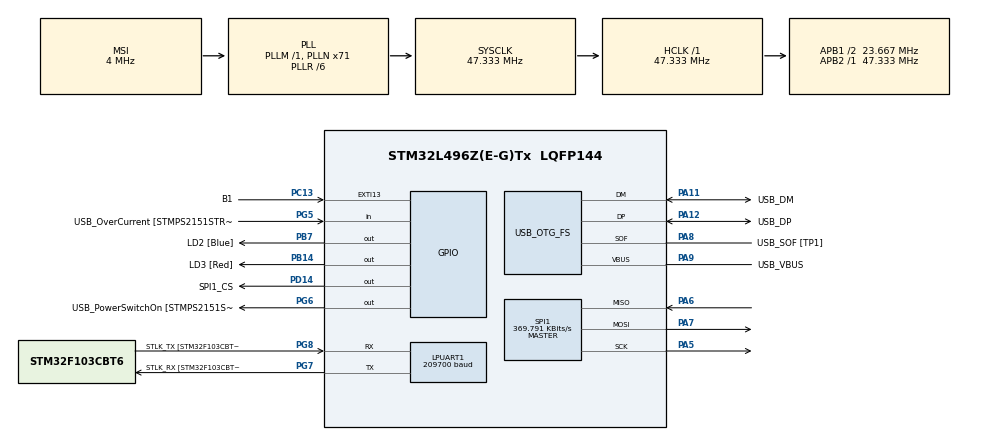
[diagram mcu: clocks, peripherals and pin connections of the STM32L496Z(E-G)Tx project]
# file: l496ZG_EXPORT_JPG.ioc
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CRC.InputDataInversionMode=CRC_INPUTDATA_INVERSION_BYTE
CRC.OutputDataInversionMode=CRC_OUTPUTDATA_INVERSION_ENABLE
LPUART1.BaudRate=209700
LPUART1.WordLength=UART_WORDLENGTH_8B
Mcu.Family=STM32L4
Mcu.Name=STM32L496Z(E-G)Tx
Mcu.Package=LQFP144
NVIC.OTG_FS_IRQn=true\:0\:0\:false\:false\:true\:false\:true\:true
NVIC.PriorityGroup=NVIC_PRIORITYGROUP_4
PA10.GPIO_Label=USB_ID
PA10.Signal=USB_OTG_FS_ID
PA11.GPIO_Label=USB_DM
PA11.Mode=Device_Only
PA11.Signal=USB_OTG_FS_DM
PA12.GPIO_Label=USB_DP
PA12.Mode=Device_Only
PA12.Signal=USB_OTG_FS_DP
PA13\ (JTMS/SWDIO).GPIO_Label=TMS
PA13\ (JTMS/SWDIO).Mode=Trace_Asynchronous_SW
PA13\ (JTMS/SWDIO).Signal=SYS_JTMS-SWDIO
PA14\ (JTCK/SWCLK).GPIO_Label=TCK
PA14\ (JTCK/SWCLK).Mode=Trace_Asynchronous_SW
PA14\ (JTCK/SWCLK).Signal=SYS_JTCK-SWCLK
PA5.Mode=Full_Duplex_Master
PA5.Signal=SPI1_SCK
PA6.Mode=Full_Duplex_Master
PA6.Signal=SPI1_MISO
PA7.Mode=Full_Duplex_Master
PA7.Signal=SPI1_MOSI
PA8.GPIO_Label=USB_SOF [TP1]
PA8.Mode=Activate_SOF_FS
PA8.Signal=USB_OTG_FS_SOF
PA9.GPIO_Label=USB_VBUS
PA9.Mode=Activate_VBUS
PA9.Signal=USB_OTG_FS_VBUS
PB14.GPIO_Label=LD3 [Red]
PB14.Signal=GPIO_Output
PB3\ (JTDO/TRACESWO).GPIO_Label=SWO
PB3\ (JTDO/TRACESWO).Mode=Trace_Asynchronous_SW
PB3\ (JTDO/TRACESWO).Signal=SYS_JTDO-SWO
PB7.GPIO_Label=LD2 [Blue]
PB7.Signal=GPIO_Output
PC13.GPIO_Label=B1
PC13.Signal=GPXTI13
PC14-OSC32_IN\ (PC14).Mode=LSE-External-Oscillator
PC14-OSC32_IN\ (PC14).Signal=RCC_OSC32_IN
PC15-OSC32_OUT\ (PC15).Mode=LSE-External-Oscillator
PC15-OSC32_OUT\ (PC15).Signal=RCC_OSC32_OUT
PD14.GPIO_Label=SPI1_CS
PD14.GPIO_ModeDefaultOutputPP=GPIO_MODE_OUTPUT_PP
PD14.GPIO_PuPd=GPIO_PULLUP
PD14.PinState=GPIO_PIN_SET
PD14.Signal=GPIO_Output
PG5.GPIO_Label=USB_OverCurrent [STMPS2151STR_FAULT]
PG5.Signal=GPIO_Input
PG6.GPIO_Label=USB_PowerSwitchOn [STMPS2151STR_EN]
PG6.Signal=GPIO_Output
PG7.GPIO_Label=STLK_RX [STM32F103CBT6_PA3]
PG7.Mode=Asynchronous
PG7.Signal=LPUART1_TX
PG8.GPIO_Label=STLK_TX [STM32F103CBT6_PA2]
PG8.Mode=Asynchronous
PG8.Signal=LPUART1_RX
PH1-OSC_OUT\ (PH1).Signal=RCC_OSC_OUT
ProjectManager.HeapSize=0x200
ProjectManager.StackSize=0x400
ProjectManager.TargetToolchain=STM32CubeIDE
RCC.48MHZClocksFreq_Value=24000000
RCC.ADCFreq_Value=48000000
RCC.AHBFreq_Value=47333333.333333336
RCC.APB1CLKDivider=RCC_HCLK_DIV2
RCC.APB1Freq_Value=23666666.666666668
RCC.APB1TimFreq_Value=47333333.333333336
RCC.APB2Freq_Value=47333333.333333336
RCC.APB2TimFreq_Value=47333333.333333336
RCC.CortexFreq_Value=47333333.333333336
RCC.HCLKFreq_Value=47333333.333333336
RCC.HSE_VALUE=8000000
RCC.HSI48_VALUE=48000000
RCC.HSI_VALUE=16000000
RCC.MSI_VALUE=4000000
RCC.PLLMUL=RCC_PLL_MUL9
RCC.PLLN=71
RCC.PLLR=RCC_PLLR_DIV6
RCC.PLLSAI1N=24
RCC.PRESCALERUSB=RCC_USBCLKSOURCE_PLL_DIV1_5
RCC.SYSCLKFreq_VALUE=47333333.333333336
RCC.SYSCLKSource=RCC_SYSCLKSOURCE_PLLCLK
RCC.SYSCLKSourceVirtual=RCC_SYSCLKSOURCE_PLLCLK
RCC.USBFreq_Value=48000000
RCC.VCOOutputFreq_Value=284000000
SPI1.BaudRatePrescaler=SPI_BAUDRATEPRESCALER_128
SPI1.CalculateBaudRate=369.791 KBits/s
SPI1.DataSize=SPI_DATASIZE_8BIT
SPI1.Direction=SPI_DIRECTION_2LINES
SPI1.Mode=SPI_MODE_MASTER
SPI1.VirtualType=VM_MASTER
USB_DEVICE.CLASS_NAME_FS=CDC
USB_DEVICE.VirtualMode=Cdc
USB_DEVICE.VirtualModeFS=Cdc_FS
USB_OTG_FS.VirtualMode=Device_Only
VP_CRC_VS_CRC.Mode=CRC_Activate
VP_FATFS_VS_Generic.Mode=User_defined
VP_USB_DEVICE_VS_USB_DEVICE_CDC_FS.Mode=CDC_FS
board=NUCLEO-L496ZG

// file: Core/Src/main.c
/* USER CODE BEGIN Header */
/**
  ******************************************************************************
  * @file           : main.c
  * @brief          : Main program body
  ******************************************************************************
  * @attention
  *
  * Copyright (c) 2026 STMicroelectronics.
  * All rights reserved.
  *
  * This software is licensed under terms that can be found in the LICENSE file
  * in the root directory of this software component.
  * If no LICENSE file comes with this software, it is provided AS-IS.
  *
  ******************************************************************************
  */
/* USER CODE END Header */
#include "main.h"
#include "fatfs.h"
#include "usb_device.h"

/* USER CODE BEGIN Includes */
#include <stdio.h>
#include <string.h>
#include "sd_utils.h"
#include "usbd_cdc_if.h"
#include "obc_packet.h"
/* USER CODE END Includes */

CRC_HandleTypeDef hcrc;

UART_HandleTypeDef hlpuart1;

SPI_HandleTypeDef hspi1;

/* USER CODE BEGIN PV */
uint8_t rx_byte;
uint8_t rx_buffer[MAX_FRAME_SIZE];
uint8_t decoded_buffer[MAX_FRAME_SIZE];
uint16_t rx_index = 0;
volatile uint8_t flag_send_file = 0;
volatile uint8_t flag_list_files = 0;
volatile uint8_t flag_req_file_windowed = 0;
volatile uint8_t flag_ack_received = 0;
char file_to_send[13] = "01261311.jpg";
/* USER CODE END PV */

void SystemClock_Config(void);
static void MX_GPIO_Init(void);
static void MX_LPUART1_UART_Init(void);
static void MX_SPI1_Init(void);
static void MX_CRC_Init(void);
/* USER CODE BEGIN PFP */
void SD_ListFiles(void);
#define PUTCHAR_PROTOTYPE int __io_putchar(int ch)
void HAL_UART_RxCpltCallback(UART_HandleTypeDef *huart);
/* USER CODE END PFP */

/* USER CODE BEGIN 0 */
void HAL_UART_RxCpltCallback(UART_HandleTypeDef *huart)
{
  if (huart->Instance == LPUART1)
  {
    HAL_GPIO_TogglePin(LD2_GPIO_Port, LD2_Pin);

    // Prevent overflow
    if (rx_index < MAX_FRAME_SIZE) {
        rx_buffer[rx_index++] = rx_byte;
    } else {
        rx_index = 0; // Reset on overflow
        rx_buffer[rx_index++] = rx_byte;
    }

    if (rx_byte == FEND)
    {
      if (rx_index > 1)
      {
          uint16_t frame_len = rx_index;
          uint16_t decoded_len = SLIP_Decode(rx_buffer, frame_len, decoded_buffer);

          switch (decoded_buffer[0])
          {
            case 0x12:
              HAL_GPIO_TogglePin(LD3_GPIO_Port, LD3_Pin); // Toggle Red LED
              CDC_Transmit_FS(rx_buffer, frame_len);
              break;

            case 0x00:
                  if (decoded_buffer[1] == 0x13) {
                     // Legacy Request (Non-windowed)
                     if (decoded_len >= 14) {
                        memcpy(file_to_send, &decoded_buffer[2], 12);
                        file_to_send[12] = 0;
                     }
                     HAL_GPIO_TogglePin(LD3_GPIO_Port, LD3_Pin);
                     flag_send_file = 1;
                  }
                  else if (decoded_buffer[1] == 0x12) {
                     // Windowed Request
                     if (decoded_len >= 14) {
                        memcpy(file_to_send, &decoded_buffer[2], 12);
                        file_to_send[12] = 0;
                     }
                     HAL_GPIO_TogglePin(LD3_GPIO_Port, LD3_Pin);
                     flag_req_file_windowed = 1;
                  }
                  else if (decoded_buffer[1] == 0x10) {
                     flag_list_files = 1;
                  }
                  else if (decoded_buffer[1] == 0xAC) {
                     flag_ack_received = 1;
                  }
              break;

            default:
              break;
          }
           rx_index = 0;
      }
      else
      {
          // Start FEND or repeated FEND
          rx_buffer[0] = FEND;
          rx_index = 1;
      }
    }
    HAL_UART_Receive_IT(&hlpuart1, &rx_byte, 1);
  }
}
/* USER CODE END 0 */

int main(void)
{

  /* MCU Configuration--------------------------------------------------------*/

  /* Reset of all peripherals, Initializes the Flash interface and the Systick. */
  HAL_Init();

  /* Configure the system clock */
  SystemClock_Config();

  /* Initialize all configured peripherals */
  MX_GPIO_Init();
  MX_LPUART1_UART_Init();
  MX_SPI1_Init();
  MX_FATFS_Init();
  MX_USB_DEVICE_Init();
  MX_CRC_Init();
  /* USER CODE BEGIN 2 */
  HAL_NVIC_SetPriority(LPUART1_IRQn, 0, 0);
  HAL_NVIC_EnableIRQ(LPUART1_IRQn);
  HAL_UART_Receive_IT(&hlpuart1, &rx_byte, 1);

  SD_Init();

  // HAL_Delay(1000); // Wait for system to settle

  /* USER CODE END 2 */

  /* Infinite loop */
  /* USER CODE BEGIN WHILE */
  while (1)
  {
      if (flag_send_file) {
          flag_send_file = 0;
          SD_SendFile(file_to_send, 0xFFFF);
      }
      if (flag_list_files) {
          flag_list_files = 0;
          SD_ListFiles_KISS();
      }
      if (flag_req_file_windowed) {
          flag_req_file_windowed = 0;
          SD_SendFile_Windowed(file_to_send);
      }
      // SD_ListFiles_KISS();
      // HAL_Delay(1000);

      SD_SaveFiles();
    /* USER CODE END WHILE */

  }
}

void SystemClock_Config(void)
{
  RCC_OscInitTypeDef RCC_OscInitStruct = {0};
  RCC_ClkInitTypeDef RCC_ClkInitStruct = {0};

  /** Configure the main internal regulator output voltage
  */
  if (HAL_PWREx_ControlVoltageScaling(PWR_REGULATOR_VOLTAGE_SCALE1) != HAL_OK)
  {
    Error_Handler();
  }

  /** Configure LSE Drive Capability
  */
  HAL_PWR_EnableBkUpAccess();
  __HAL_RCC_LSEDRIVE_CONFIG(RCC_LSEDRIVE_LOW);

  /** Initializes the RCC Oscillators according to the specified parameters
  * in the RCC_OscInitTypeDef structure.
  */
  RCC_OscInitStruct.OscillatorType = RCC_OSCILLATORTYPE_LSE|RCC_OSCILLATORTYPE_MSI;
  RCC_OscInitStruct.LSEState = RCC_LSE_ON;
  RCC_OscInitStruct.MSIState = RCC_MSI_ON;
  RCC_OscInitStruct.MSICalibrationValue = 0;
  RCC_OscInitStruct.MSIClockRange = RCC_MSIRANGE_6;
  RCC_OscInitStruct.PLL.PLLState = RCC_PLL_ON;
  RCC_OscInitStruct.PLL.PLLSource = RCC_PLLSOURCE_MSI;
  RCC_OscInitStruct.PLL.PLLM = 1;
  RCC_OscInitStruct.PLL.PLLN = 71;
  RCC_OscInitStruct.PLL.PLLP = RCC_PLLP_DIV2;
  RCC_OscInitStruct.PLL.PLLQ = RCC_PLLQ_DIV2;
  RCC_OscInitStruct.PLL.PLLR = RCC_PLLR_DIV6;
  if (HAL_RCC_OscConfig(&RCC_OscInitStruct) != HAL_OK)
  {
    Error_Handler();
  }

  /** Initializes the CPU, AHB and APB buses clocks
  */
  RCC_ClkInitStruct.ClockType = RCC_CLOCKTYPE_HCLK|RCC_CLOCKTYPE_SYSCLK
                              |RCC_CLOCKTYPE_PCLK1|RCC_CLOCKTYPE_PCLK2;
  RCC_ClkInitStruct.SYSCLKSource = RCC_SYSCLKSOURCE_PLLCLK;
  RCC_ClkInitStruct.AHBCLKDivider = RCC_SYSCLK_DIV1;
  RCC_ClkInitStruct.APB1CLKDivider = RCC_HCLK_DIV2;
  RCC_ClkInitStruct.APB2CLKDivider = RCC_HCLK_DIV1;

  if (HAL_RCC_ClockConfig(&RCC_ClkInitStruct, FLASH_LATENCY_2) != HAL_OK)
  {
    Error_Handler();
  }

  /** Enable MSI Auto calibration
  */
  HAL_RCCEx_EnableMSIPLLMode();
}

static void MX_CRC_Init(void)
{

  hcrc.Instance = CRC;
  hcrc.Init.DefaultPolynomialUse = DEFAULT_POLYNOMIAL_ENABLE;
  hcrc.Init.DefaultInitValueUse = DEFAULT_INIT_VALUE_ENABLE;
  hcrc.Init.InputDataInversionMode = CRC_INPUTDATA_INVERSION_BYTE;
  hcrc.Init.OutputDataInversionMode = CRC_OUTPUTDATA_INVERSION_ENABLE;
  hcrc.InputDataFormat = CRC_INPUTDATA_FORMAT_BYTES;
  if (HAL_CRC_Init(&hcrc) != HAL_OK)
  {
    Error_Handler();
  }

}

static void MX_LPUART1_UART_Init(void)
{

  hlpuart1.Instance = LPUART1;
  hlpuart1.Init.BaudRate = 209700;
  hlpuart1.Init.WordLength = UART_WORDLENGTH_8B;
  hlpuart1.Init.StopBits = UART_STOPBITS_1;
  hlpuart1.Init.Parity = UART_PARITY_NONE;
  hlpuart1.Init.Mode = UART_MODE_TX_RX;
  hlpuart1.Init.HwFlowCtl = UART_HWCONTROL_NONE;
  hlpuart1.Init.OneBitSampling = UART_ONE_BIT_SAMPLE_DISABLE;
  hlpuart1.AdvancedInit.AdvFeatureInit = UART_ADVFEATURE_NO_INIT;
  if (HAL_UART_Init(&hlpuart1) != HAL_OK)
  {
    Error_Handler();
  }

}

static void MX_SPI1_Init(void)
{

  /* SPI1 parameter configuration*/
  hspi1.Instance = SPI1;
  hspi1.Init.Mode = SPI_MODE_MASTER;
  hspi1.Init.Direction = SPI_DIRECTION_2LINES;
  hspi1.Init.DataSize = SPI_DATASIZE_8BIT;
  hspi1.Init.CLKPolarity = SPI_POLARITY_LOW;
  hspi1.Init.CLKPhase = SPI_PHASE_1EDGE;
  hspi1.Init.NSS = SPI_NSS_SOFT;
  hspi1.Init.BaudRatePrescaler = SPI_BAUDRATEPRESCALER_128;
  hspi1.Init.FirstBit = SPI_FIRSTBIT_MSB;
  hspi1.Init.TIMode = SPI_TIMODE_DISABLE;
  hspi1.Init.CRCCalculation = SPI_CRCCALCULATION_DISABLE;
  hspi1.Init.CRCPolynomial = 7;
  hspi1.Init.CRCLength = SPI_CRC_LENGTH_DATASIZE;
  hspi1.Init.NSSPMode = SPI_NSS_PULSE_ENABLE;
  if (HAL_SPI_Init(&hspi1) != HAL_OK)
  {
    Error_Handler();
  }

}

static void MX_GPIO_Init(void)
{
  GPIO_InitTypeDef GPIO_InitStruct = {0};

  /* GPIO Ports Clock Enable */
  __HAL_RCC_GPIOC_CLK_ENABLE();
  __HAL_RCC_GPIOH_CLK_ENABLE();
  __HAL_RCC_GPIOA_CLK_ENABLE();
  __HAL_RCC_GPIOB_CLK_ENABLE();
  __HAL_RCC_GPIOD_CLK_ENABLE();
  __HAL_RCC_GPIOG_CLK_ENABLE();
  HAL_PWREx_EnableVddIO2();

  /*Configure GPIO pin Output Level */
  HAL_GPIO_WritePin(GPIOB, LD3_Pin|LD2_Pin, GPIO_PIN_RESET);

  /*Configure GPIO pin Output Level */
  HAL_GPIO_WritePin(SPI1_CS_GPIO_Port, SPI1_CS_Pin, GPIO_PIN_SET);

  /*Configure GPIO pin Output Level */
  HAL_GPIO_WritePin(USB_PowerSwitchOn_GPIO_Port, USB_PowerSwitchOn_Pin, GPIO_PIN_RESET);

  /*Configure GPIO pin : B1_Pin */
  GPIO_InitStruct.Pin = B1_Pin;
  GPIO_InitStruct.Mode = GPIO_MODE_IT_RISING;
  GPIO_InitStruct.Pull = GPIO_NOPULL;
  HAL_GPIO_Init(B1_GPIO_Port, &GPIO_InitStruct);

  /*Configure GPIO pins : LD3_Pin LD2_Pin */
  GPIO_InitStruct.Pin = LD3_Pin|LD2_Pin;
  GPIO_InitStruct.Mode = GPIO_MODE_OUTPUT_PP;
  GPIO_InitStruct.Pull = GPIO_NOPULL;
  GPIO_InitStruct.Speed = GPIO_SPEED_FREQ_LOW;
  HAL_GPIO_Init(GPIOB, &GPIO_InitStruct);

  /*Configure GPIO pin : SPI1_CS_Pin */
  GPIO_InitStruct.Pin = SPI1_CS_Pin;
  GPIO_InitStruct.Mode = GPIO_MODE_OUTPUT_PP;
  GPIO_InitStruct.Pull = GPIO_PULLUP;
  GPIO_InitStruct.Speed = GPIO_SPEED_FREQ_LOW;
  HAL_GPIO_Init(SPI1_CS_GPIO_Port, &GPIO_InitStruct);

  /*Configure GPIO pin : USB_OverCurrent_Pin */
  GPIO_InitStruct.Pin = USB_OverCurrent_Pin;
  GPIO_InitStruct.Mode = GPIO_MODE_INPUT;
  GPIO_InitStruct.Pull = GPIO_NOPULL;
  HAL_GPIO_Init(USB_OverCurrent_GPIO_Port, &GPIO_InitStruct);

  /*Configure GPIO pin : USB_PowerSwitchOn_Pin */
  GPIO_InitStruct.Pin = USB_PowerSwitchOn_Pin;
  GPIO_InitStruct.Mode = GPIO_MODE_OUTPUT_PP;
  GPIO_InitStruct.Pull = GPIO_NOPULL;
  GPIO_InitStruct.Speed = GPIO_SPEED_FREQ_LOW;
  HAL_GPIO_Init(USB_PowerSwitchOn_GPIO_Port, &GPIO_InitStruct);

}

/* USER CODE BEGIN 4 */

PUTCHAR_PROTOTYPE
{
  /* Place your implementation of fputc here */
  /* e.g. write a character to the USART1 and Loop until the end of transmission */
  HAL_UART_Transmit(&hlpuart1, (uint8_t *)&ch, 1, 0xFFFF);

  return ch;
}
/* USER CODE END 4 */

void Error_Handler(void)
{
  __disable_irq();
  while (1)
  {
  }
}
